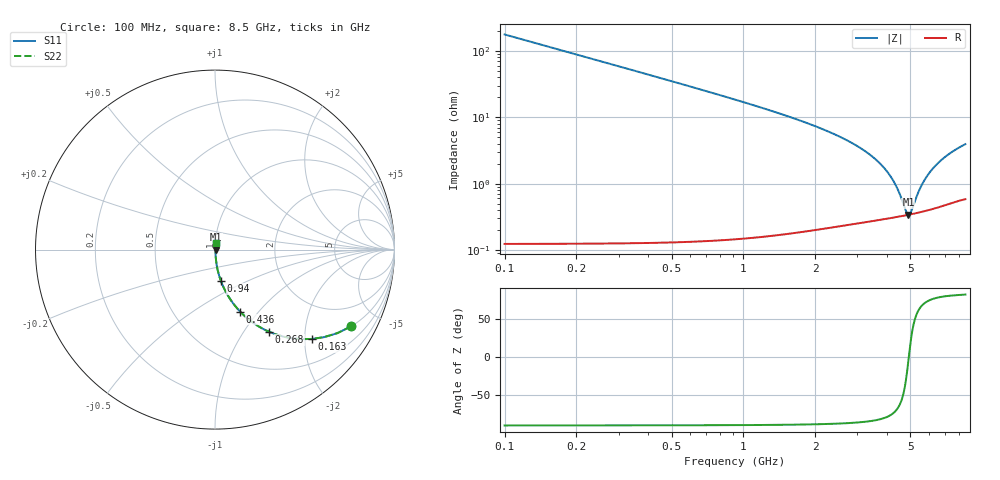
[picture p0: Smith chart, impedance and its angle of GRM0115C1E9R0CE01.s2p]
!Murata Part Number: GRM0115C1E9R0CE01
!These Parameters are Measured in Series Mode Connection
!Data Generated on Mar 30, 2021
!  o--ll--o
!Port1  Port2
!  o------o
!Operation Temp=25[degC], DC Bias Voltage=0[V]
!Freq. Start=100[MHz] Stop=9[GHz] 401[Steps]
# Hz S RI R 50
!Freq.(Hz) S11(Real) S11(Imag) S21(Real) S21(Imag) S12(Real) S12(Imag) S22(Real) S22(Imag)
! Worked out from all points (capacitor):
!   401 points, 100 MHz to 8.5 GHz, reference 50 ohm
!   read as one part in series: C = 9 pF near 142 MHz
!   lowest |Z| = 340 mohm at 4.909 GHz (marker M1)
!   series resonance near 4.927 GHz, so ESL is about 120 pH
!   S11 on the Smith chart (normalised r, x): 100 MHz: 1.00, -3.54; 163 MHz: 1.00, -2.17; 268 MHz: 1.00, -1.32; 436 MHz: 1.00, -0.80; 940 MHz: 1.00, -0.36; 8.5 GHz: 1.01, +0.08
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1e8  0.7574 -0.4283  0.2426 0.4283  0.2426 0.4283  0.7574 -0.4283
1.63e8  0.54 -0.4978  0.46 0.4978  0.46 0.4978  0.54 -0.4978
2.05e8  0.4258 -0.4937  0.5742 0.4937  0.5742 0.4937  0.4258 -0.4937
2.68e8  0.3023 -0.4583  0.6977 0.4583  0.6977 0.4583  0.3023 -0.4583
3.52e8  0.2004 -0.399  0.7996 0.399  0.7996 0.399  0.2004 -0.399
4.36e8  0.14 -0.3454  0.86 0.3454  0.86 0.3454  0.14 -0.3454
6.25e8  0.0728 -0.2575  0.9272 0.2575  0.9272 0.2575  0.0728 -0.2575
9.4e8  0.033 -0.1746  0.967 0.1746  0.967 0.1746  0.033 -0.1746
1.507e9  0.0127 -0.1043  0.9873 0.1043  0.9873 0.1043  0.0127 -0.1043
2.914e9  0.00397 -0.0387  0.996 0.0387  0.996 0.0387  0.00397 -0.0387
3.733e9  0.00323 -0.0198  0.9968 0.0198  0.9968 0.0198  0.00323 -0.0198
4.048e9  0.00317 -0.0139  0.9968 0.0139  0.9968 0.0139  0.00317 -0.0139
4.3e9  0.00318 -0.00958  0.9968 0.00958  0.9968 0.00958  0.00318 -0.00958
4.51e9  0.00323 -0.00621  0.9968 0.00621  0.9968 0.00621  0.00323 -0.00621
4.783e9  0.00332 -0.00208  0.9967 0.00208  0.9967 0.00208  0.00332 -0.00208
4.909e9  0.00338 -0.00026  0.9966 0.00026  0.9966 0.00026  0.00338 -0.00026
5.014e9  0.00343 0.00122  0.9966 -0.00122  0.9966 -0.00122  0.00343 0.00122
5.392e9  0.00367 0.0063  0.9963 -0.0063  0.9963 -0.0063  0.00367 0.0063
5.707e9  0.00392 0.0103  0.9961 -0.0103  0.9961 -0.0103  0.00392 0.0103
6.295e9  0.00449 0.0172  0.9955 -0.0172  0.9955 -0.0172  0.00449 0.0172
7.114e9  0.00547 0.0258  0.9945 -0.0258  0.9945 -0.0258  0.00547 0.0258
8.5e9  0.00727 0.0384  0.9927 -0.0384  0.9927 -0.0384  0.00727 0.0384
